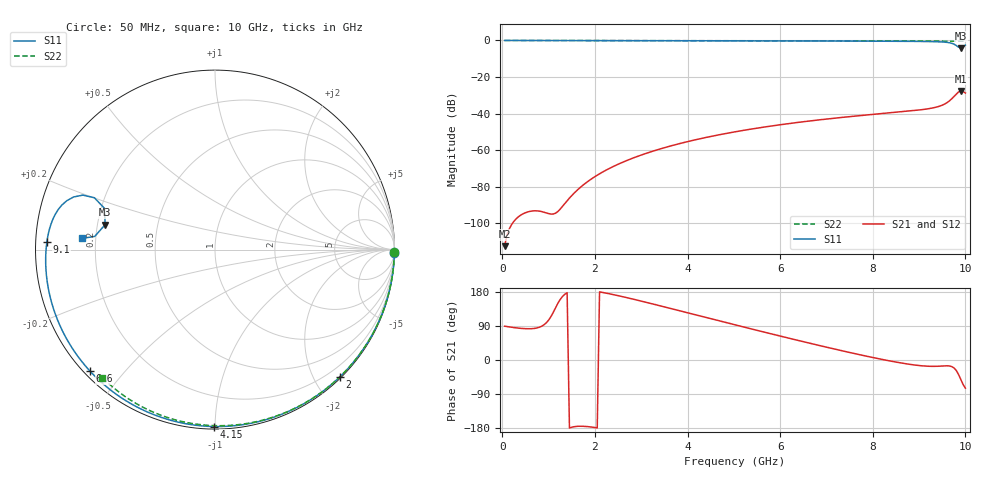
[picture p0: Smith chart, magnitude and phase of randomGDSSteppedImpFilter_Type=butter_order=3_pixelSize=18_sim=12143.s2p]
! freq	dB(S11)	phase(S11)	dB(S12)	phase(S12)
!  dB(S21)	phase(S21)	dB(S22)	phase(S22)
!S-par simulation data
#  GHz  S  DB  R 50
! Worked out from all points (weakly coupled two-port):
!   200 points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, 50 MHz to 10 GHz, reference 50 ohm
!   highest |S21| = -27.70 dB at 9.9 GHz (marker M1); lowest = -112.6 dB at 50 MHz (marker M2)
!   lowest |S11| = -4.0 dB at 9.9 GHz (marker M3), VSWR 4.37, Z = 11.6 + j5.32 ohm
!   |S11| at or under -10 dB: nowhere
!   |S22| runs from -0.4 to 0.0 dB; largest |S21 - S12| = 0
!   S11 on the Smith chart (normalised r, x): 50 MHz: 0, -97; 2 GHz: 0.02, -2.37; 4.15 GHz: 0.01, -0.99; 6.6 GHz: 0.02, -0.41; 9.1 GHz: 0.03, +0.02; 10 GHz: 0.15, +0.04
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0.05  -0.00 -1.2  -112.63 89.1  -112.63 89.1  -0.00 -0.8
0.85  -0.02 -19.8  -93.69 89.1  -93.69 89.1  -0.02 -12.8
1.7  -0.05 -39.0  -80.11 -174.8  -80.11 -174.8  -0.03 -25.4
1.75  -0.05 -40.2  -79.07 -174.9  -79.07 -174.9  -0.03 -26.2
2  -0.06 -45.7  -74.55 -178.2  -74.55 -178.2  -0.04 -29.8
2.6  -0.07 -58.7  -66.66 167.1  -66.66 167.1  -0.05 -38.5
3.4  -0.10 -75.4  -59.46 143.3  -59.46 143.3  -0.07 -49.8
4.15  -0.12 -90.4  -54.50 120.0  -54.50 120.0  -0.08 -60.1
5.05  -0.16 -107.6  -49.91 92.1  -49.91 92.1  -0.11 -72.1
6.6  -0.25 -135.8  -44.19 45.4  -44.19 45.4  -0.17 -91.7
6.7  -0.26 -137.6  -43.89 42.5  -43.89 42.5  -0.18 -92.9
7.55  -0.33 -152.8  -41.58 18.5  -41.58 18.5  -0.23 -103.1
8.35  -0.42 -167.4  -39.69 -2.0  -39.69 -2.0  -0.29 -112.5
9.1  -0.56 177.5  -37.77 -15.7  -37.77 -15.7  -0.35 -121.1
9.5  -0.82 167.2  -35.43 -15.8  -35.43 -15.8  -0.39 -125.6
9.65  -1.22 161.7  -33.18 -15.7  -33.18 -15.7  -0.41 -127.3
9.75  -1.98 157.6  -30.77 -20.6  -30.77 -20.6  -0.42 -128.3
9.8  -2.71 156.7  -29.39 -27.1  -29.39 -27.1  -0.42 -128.9
9.85  -3.64 159.5  -28.23 -37.7  -28.23 -37.7  -0.42 -129.4
9.9  -4.05 167.2  -27.70 -51.2  -27.70 -51.2  -0.42 -130.0
9.95  -3.42 173.8  -27.98 -64.4  -27.98 -64.4  -0.42 -130.6
10  -2.55 175.2  -28.78 -74.3  -28.78 -74.3  -0.43 -131.2
